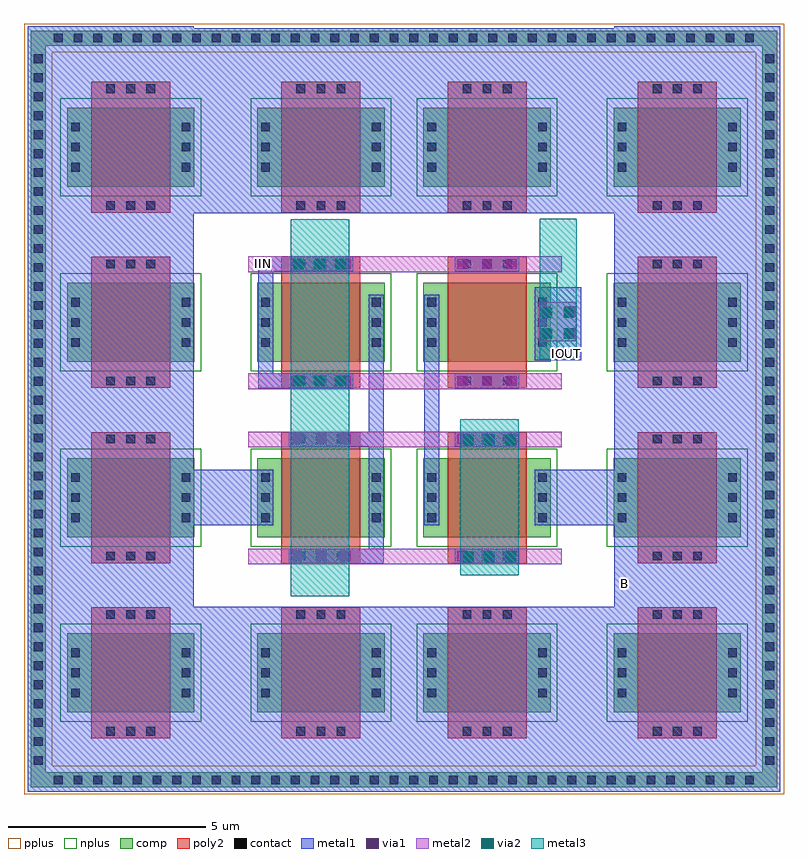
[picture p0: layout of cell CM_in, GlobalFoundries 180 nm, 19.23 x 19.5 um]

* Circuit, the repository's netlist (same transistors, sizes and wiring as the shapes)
** sch_path: /home/gmaranhao/Desktop/Bracolin/Voltage_Reference/symbols_vr/CM_in.sch
.subckt CM_in IIN IOUT B
*.PININFO IIN:B IOUT:B B:B
MN7 IOUT IIN net1 B nfet_03v3 L=2u W=2u nf=1 m=1
MN8 net1 net2 B B nfet_03v3 L=2u W=2u nf=1 m=1
MN11 IIN IIN net2 B nfet_03v3 L=2u W=2u nf=1 m=1
MN12 net2 net2 B B nfet_03v3 L=2u W=2u nf=1 m=1
MN1[1] B B B B nfet_03v3 L=2u W=2u nf=1 m=1
MN1[2] B B B B nfet_03v3 L=2u W=2u nf=1 m=1
MN1[3] B B B B nfet_03v3 L=2u W=2u nf=1 m=1
MN1[4] B B B B nfet_03v3 L=2u W=2u nf=1 m=1
MN1[5] B B B B nfet_03v3 L=2u W=2u nf=1 m=1
MN1[6] B B B B nfet_03v3 L=2u W=2u nf=1 m=1
MN1[7] B B B B nfet_03v3 L=2u W=2u nf=1 m=1
MN1[8] B B B B nfet_03v3 L=2u W=2u nf=1 m=1
MN1[9] B B B B nfet_03v3 L=2u W=2u nf=1 m=1
MN1[10] B B B B nfet_03v3 L=2u W=2u nf=1 m=1
MN1[11] B B B B nfet_03v3 L=2u W=2u nf=1 m=1
MN1[12] B B B B nfet_03v3 L=2u W=2u nf=1 m=1
.ends
.end

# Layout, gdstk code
import gdstk
lib = gdstk.Library(unit=1e-6, precision=1e-09)
def R(c, l, rs):  # rectangles x0, y0, x1, y1
    for r in rs: c.add(gdstk.rectangle(r[:2], r[2:], *l))
def A(c, l, x, y, w, h, nx, ny, dx, dy):  # array of equal rectangles
    R(c, l, [(x+i*dx, y+j*dy, x+i*dx+w, y+j*dy+h) for i in range(nx) for j in range(ny)])
comp = (22, 0)
poly2 = (30, 0)
pplus = (31, 0)
nplus = (32, 0)
contact = (33, 0)
metal1 = (34, 0)
via1 = (35, 0)
metal2 = (36, 0)
via2 = (38, 0)
metal3 = (42, 0)

nfet = lib.new_cell('nfet')
R(nfet, comp, [(-0.42,0,0,2), (0,0,2.38,2), (2.38,0,2.8,2)])
R(nfet, poly2, [(0.19,-0.66,2.19,-0.3), (0.19,-0.3,2.19,2.3), (0.19,2.3,2.19,2.66)])
R(nfet, nplus, [(-0.59,-0.24,2.97,2.24)])
A(nfet, contact, 0.57, -0.59, 0.22, 0.22, 3, 2, 0.51, 2.96)
A(nfet, contact, -0.32, 0.38, 0.22, 0.22, 1, 3, 0, 0.51)
A(nfet, contact, 2.48, 0.38, 0.22, 0.22, 1, 3, 0, 0.51)
R(nfet, metal1, [(0.49,-0.67,1.89,-0.29), (-0.4,0.3,-0.02,1.7), (2.4,0.3,2.78,1.7), (0.49,2.29,1.89,2.67)])

cm_in = lib.new_cell('CM_in')
R(cm_in, comp, [(-48.06,-149.24,-47.68,-130.085), (-47.975,-149.24,-29.325,-148.86), (-29.545,-149.24,-29.165,-130.085), (-48.06,-130.465,-29.325,-130.085)])
R(cm_in, pplus, [(-48.23,-149.41,-47.51,-129.96), (-48.06,-149.41,-28.995,-148.69), (-29.715,-149.37,-28.995,-129.96), (-48.23,-130.635,-28.995,-129.915)])
A(cm_in, contact, -47.475, -149.16, 0.22, 0.22, 36, 2, 0.5, 18.775)
A(cm_in, contact, -47.98, -148.67, 0.22, 0.22, 1, 38, 0, 0.48)
A(cm_in, contact, -29.465, -148.67, 0.22, 0.22, 1, 38, 0, 0.48)
R(cm_in, metal1, [(-48.14,-149.345,-43.94,-129.975), (-46.115,-149.345,-33.175,-144.67), (-33.285,-149.345,-29.085,-129.975), (-41.535,-143.575,-39.895,-143.195), (-41.535,-143.575,-39.125,-143.195), (-37.33,-143.575,-35.69,-143.195), (-37.33,-143.575,-35.69,-143.195), (-39.505,-143.395,-39.125,-138.035), (-44.25,-142.605,-42.125,-141.205), (-35.175,-142.605,-33.05,-141.205), (-38.1,-141.675,-37.72,-137.885), (-41.535,-140.615,-39.895,-140.235), (-41.535,-140.615,-39.125,-140.235), (-37.33,-140.615,-35.69,-140.235), (-37.305,-140.615,-35.69,-140.235), (-42.305,-139.14,-41.925,-135.8), (-42.02,-139.14,-39.895,-138.76), (-41.535,-139.14,-39.895,-138.76), (-37.33,-139.14,-35.69,-138.76), (-37.33,-139.14,-35.69,-138.76), (-35.3,-138.435,-34.125,-136.58), (-42.15,-136.18,-39.895,-135.8), (-41.535,-136.18,-39.895,-135.8), (-37.33,-136.18,-35.69,-135.8), (-37.33,-136.18,-35.69,-135.8), (-46.115,-134.705,-33.175,-130.03)])
R(cm_in, via1, [(-41.465,-143.515,-41.205,-143.255), (-41.465,-143.515,-41.205,-143.255), (-41.465,-143.515,-41.205,-143.255), (-41.465,-143.515,-41.205,-143.255), (-41.465,-143.515,-41.205,-143.255), (-41.465,-143.515,-41.205,-143.255), (-41.465,-143.515,-41.205,-143.255), (-41.465,-143.515,-41.205,-143.255), (-41.465,-143.515,-41.205,-143.255), (-41.465,-143.515,-41.205,-143.255), (-41.465,-143.515,-41.205,-143.255), (-41.465,-143.515,-41.205,-143.255), (-41.465,-143.515,-41.205,-143.255), (-41.465,-143.515,-41.205,-143.255), (-41.465,-143.515,-41.205,-143.255), (-41.465,-143.515,-41.205,-143.255), (-40.845,-143.515,-40.585,-143.255), (-40.845,-143.515,-40.585,-143.255), (-40.845,-143.515,-40.585,-143.255), (-40.845,-143.515,-40.585,-143.255), (-40.845,-143.515,-40.585,-143.255), (-40.845,-143.515,-40.585,-143.255), (-40.845,-143.515,-40.585,-143.255), (-40.845,-143.515,-40.585,-143.255), (-40.845,-143.515,-40.585,-143.255), (-40.845,-143.515,-40.585,-143.255), (-40.845,-143.515,-40.585,-143.255), (-40.845,-143.515,-40.585,-143.255), (-40.845,-143.515,-40.585,-143.255), (-40.845,-143.515,-40.585,-143.255), (-40.845,-143.515,-40.585,-143.255), (-40.845,-143.515,-40.585,-143.255), (-40.225,-143.515,-39.965,-143.255), (-40.225,-143.515,-39.965,-143.255), (-40.225,-143.515,-39.965,-143.255), (-40.225,-143.515,-39.965,-143.255), (-40.225,-143.515,-39.965,-143.255), (-40.225,-143.515,-39.965,-143.255), (-40.225,-143.515,-39.965,-143.255), (-40.225,-143.515,-39.965,-143.255), (-40.225,-143.515,-39.965,-143.255), (-40.225,-143.515,-39.965,-143.255), (-40.225,-143.515,-39.965,-143.255), (-40.225,-143.515,-39.965,-143.255), (-40.225,-143.515,-39.965,-143.255), (-40.225,-143.515,-39.965,-143.255), (-40.225,-143.515,-39.965,-143.255), (-40.225,-143.515,-39.965,-143.255), (-37.26,-143.515,-37,-143.255), (-37.26,-143.515,-37,-143.255), (-37.26,-143.515,-37,-143.255), (-37.26,-143.515,-37,-143.255), (-37.26,-143.515,-37,-143.255), (-37.26,-143.515,-37,-143.255), (-37.26,-143.515,-37,-143.255), (-37.26,-143.515,-37,-143.255), (-37.26,-143.515,-37,-143.255), (-37.26,-143.515,-37,-143.255), (-37.26,-143.515,-37,-143.255), (-37.26,-143.515,-37,-143.255), (-37.26,-143.515,-37,-143.255), (-37.26,-143.515,-37,-143.255), (-37.26,-143.515,-37,-143.255), (-37.26,-143.515,-37,-143.255), (-36.64,-143.515,-36.38,-143.255), (-36.64,-143.515,-36.38,-143.255), (-36.64,-143.515,-36.38,-143.255), (-36.64,-143.515,-36.38,-143.255), (-36.64,-143.515,-36.38,-143.255), (-36.64,-143.515,-36.38,-143.255), (-36.64,-143.515,-36.38,-143.255), (-36.64,-143.515,-36.38,-143.255), (-36.64,-143.515,-36.38,-143.255), (-36.64,-143.515,-36.38,-143.255), (-36.64,-143.515,-36.38,-143.255), (-36.64,-143.515,-36.38,-143.255), (-36.64,-143.515,-36.38,-143.255), (-36.64,-143.515,-36.38,-143.255), (-36.64,-143.515,-36.38,-143.255), (-36.64,-143.515,-36.38,-143.255), (-36.02,-143.515,-35.76,-143.255), (-36.02,-143.515,-35.76,-143.255), (-36.02,-143.515,-35.76,-143.255), (-36.02,-143.515,-35.76,-143.255), (-36.02,-143.515,-35.76,-143.255), (-36.02,-143.515,-35.76,-143.255), (-36.02,-143.515,-35.76,-143.255), (-36.02,-143.515,-35.76,-143.255), (-36.02,-143.515,-35.76,-143.255), (-36.02,-143.515,-35.76,-143.255), (-36.02,-143.515,-35.76,-143.255), (-36.02,-143.515,-35.76,-143.255), (-36.02,-143.515,-35.76,-143.255), (-36.02,-143.515,-35.76,-143.255), (-36.02,-143.515,-35.76,-143.255), (-36.02,-143.515,-35.76,-143.255), (-41.465,-140.555,-41.205,-140.295), (-41.465,-140.555,-41.205,-140.295), (-41.465,-140.555,-41.205,-140.295), (-41.465,-140.555,-41.205,-140.295), (-41.465,-140.555,-41.205,-140.295), (-41.465,-140.555,-41.205,-140.295), (-41.465,-140.555,-41.205,-140.295), (-41.465,-140.555,-41.205,-140.295), (-41.465,-140.555,-41.205,-140.295), (-41.465,-140.555,-41.205,-140.295), (-41.465,-140.555,-41.205,-140.295), (-41.465,-140.555,-41.205,-140.295), (-41.465,-140.555,-41.205,-140.295), (-41.465,-140.555,-41.205,-140.295), (-41.465,-140.555,-41.205,-140.295), (-41.465,-140.555,-41.205,-140.295), (-40.845,-140.555,-40.585,-140.295), (-40.845,-140.555,-40.585,-140.295), (-40.845,-140.555,-40.585,-140.295), (-40.845,-140.555,-40.585,-140.295), (-40.845,-140.555,-40.585,-140.295), (-40.845,-140.555,-40.585,-140.295), (-40.845,-140.555,-40.585,-140.295), (-40.845,-140.555,-40.585,-140.295), (-40.845,-140.555,-40.585,-140.295), (-40.845,-140.555,-40.585,-140.295), (-40.845,-140.555,-40.585,-140.295), (-40.845,-140.555,-40.585,-140.295), (-40.845,-140.555,-40.585,-140.295), (-40.845,-140.555,-40.585,-140.295), (-40.845,-140.555,-40.585,-140.295), (-40.845,-140.555,-40.585,-140.295), (-40.225,-140.555,-39.965,-140.295), (-40.225,-140.555,-39.965,-140.295), (-40.225,-140.555,-39.965,-140.295), (-40.225,-140.555,-39.965,-140.295), (-40.225,-140.555,-39.965,-140.295), (-40.225,-140.555,-39.965,-140.295), (-40.225,-140.555,-39.965,-140.295), (-40.225,-140.555,-39.965,-140.295), (-40.225,-140.555,-39.965,-140.295), (-40.225,-140.555,-39.965,-140.295), (-40.225,-140.555,-39.965,-140.295), (-40.225,-140.555,-39.965,-140.295), (-40.225,-140.555,-39.965,-140.295), (-40.225,-140.555,-39.965,-140.295), (-40.225,-140.555,-39.965,-140.295), (-40.225,-140.555,-39.965,-140.295), (-37.26,-140.555,-37,-140.295), (-37.26,-140.555,-37,-140.295), (-37.26,-140.555,-37,-140.295), (-37.26,-140.555,-37,-140.295), (-37.26,-140.555,-37,-140.295), (-37.26,-140.555,-37,-140.295), (-37.26,-140.555,-37,-140.295), (-37.26,-140.555,-37,-140.295), (-37.26,-140.555,-37,-140.295), (-37.26,-140.555,-37,-140.295), (-37.26,-140.555,-37,-140.295), (-37.26,-140.555,-37,-140.295), (-37.26,-140.555,-37,-140.295), (-37.26,-140.555,-37,-140.295), (-37.26,-140.555,-37,-140.295), (-37.26,-140.555,-37,-140.295), (-36.64,-140.555,-36.38,-140.295), (-36.64,-140.555,-36.38,-140.295), (-36.64,-140.555,-36.38,-140.295), (-36.64,-140.555,-36.38,-140.295), (-36.64,-140.555,-36.38,-140.295), (-36.64,-140.555,-36.38,-140.295), (-36.64,-140.555,-36.38,-140.295), (-36.64,-140.555,-36.38,-140.295), (-36.64,-140.555,-36.38,-140.295), (-36.64,-140.555,-36.38,-140.295), (-36.64,-140.555,-36.38,-140.295), (-36.64,-140.555,-36.38,-140.295), (-36.64,-140.555,-36.38,-140.295), (-36.64,-140.555,-36.38,-140.295), (-36.64,-140.555,-36.38,-140.295), (-36.64,-140.555,-36.38,-140.295), (-36.02,-140.555,-35.76,-140.295), (-36.02,-140.555,-35.76,-140.295), (-36.02,-140.555,-35.76,-140.295), (-36.02,-140.555,-35.76,-140.295), (-36.02,-140.555,-35.76,-140.295), (-36.02,-140.555,-35.76,-140.295), (-36.02,-140.555,-35.76,-140.295), (-36.02,-140.555,-35.76,-140.295), (-36.02,-140.555,-35.76,-140.295), (-36.02,-140.555,-35.76,-140.295), (-36.02,-140.555,-35.76,-140.295), (-36.02,-140.555,-35.76,-140.295), (-36.02,-140.555,-35.76,-140.295), (-36.02,-140.555,-35.76,-140.295), (-36.02,-140.555,-35.76,-140.295), (-36.02,-140.555,-35.76,-140.295), (-41.465,-139.08,-41.205,-138.82), (-41.465,-139.08,-41.205,-138.82), (-41.465,-139.08,-41.205,-138.82), (-41.465,-139.08,-41.205,-138.82), (-41.465,-139.08,-41.205,-138.82), (-41.465,-139.08,-41.205,-138.82), (-41.465,-139.08,-41.205,-138.82), (-41.465,-139.08,-41.205,-138.82), (-41.465,-139.08,-41.205,-138.82), (-41.465,-139.08,-41.205,-138.82), (-41.465,-139.08,-41.205,-138.82), (-41.465,-139.08,-41.205,-138.82), (-41.465,-139.08,-41.205,-138.82), (-41.465,-139.08,-41.205,-138.82), (-41.465,-139.08,-41.205,-138.82), (-41.465,-139.08,-41.205,-138.82), (-40.845,-139.08,-40.585,-138.82), (-40.845,-139.08,-40.585,-138.82), (-40.845,-139.08,-40.585,-138.82), (-40.845,-139.08,-40.585,-138.82), (-40.845,-139.08,-40.585,-138.82), (-40.845,-139.08,-40.585,-138.82), (-40.845,-139.08,-40.585,-138.82), (-40.845,-139.08,-40.585,-138.82), (-40.845,-139.08,-40.585,-138.82), (-40.845,-139.08,-40.585,-138.82), (-40.845,-139.08,-40.585,-138.82), (-40.845,-139.08,-40.585,-138.82), (-40.845,-139.08,-40.585,-138.82), (-40.845,-139.08,-40.585,-138.82), (-40.845,-139.08,-40.585,-138.82), (-40.845,-139.08,-40.585,-138.82), (-40.225,-139.08,-39.965,-138.82), (-40.225,-139.08,-39.965,-138.82), (-40.225,-139.08,-39.965,-138.82), (-40.225,-139.08,-39.965,-138.82), (-40.225,-139.08,-39.965,-138.82), (-40.225,-139.08,-39.965,-138.82), (-40.225,-139.08,-39.965,-138.82), (-40.225,-139.08,-39.965,-138.82), (-40.225,-139.08,-39.965,-138.82), (-40.225,-139.08,-39.965,-138.82), (-40.225,-139.08,-39.965,-138.82), (-40.225,-139.08,-39.965,-138.82), (-40.225,-139.08,-39.965,-138.82), (-40.225,-139.08,-39.965,-138.82), (-40.225,-139.08,-39.965,-138.82), (-40.225,-139.08,-39.965,-138.82), (-37.26,-139.08,-37,-138.82), (-37.26,-139.08,-37,-138.82), (-37.26,-139.08,-37,-138.82), (-37.26,-139.08,-37,-138.82), (-37.26,-139.08,-37,-138.82), (-37.26,-139.08,-37,-138.82), (-37.26,-139.08,-37,-138.82), (-37.26,-139.08,-37,-138.82), (-37.26,-139.08,-37,-138.82), (-37.26,-139.08,-37,-138.82), (-37.26,-139.08,-37,-138.82), (-37.26,-139.08,-37,-138.82), (-37.26,-139.08,-37,-138.82), (-37.26,-139.08,-37,-138.82), (-37.26,-139.08,-37,-138.82), (-37.26,-139.08,-37,-138.82), (-36.64,-139.08,-36.38,-138.82), (-36.64,-139.08,-36.38,-138.82), (-36.64,-139.08,-36.38,-138.82), (-36.64,-139.08,-36.38,-138.82), (-36.64,-139.08,-36.38,-138.82), (-36.64,-139.08,-36.38,-138.82), (-36.64,-139.08,-36.38,-138.82), (-36.64,-139.08,-36.38,-138.82), (-36.64,-139.08,-36.38,-138.82), (-36.64,-139.08,-36.38,-138.82), (-36.64,-139.08,-36.38,-138.82), (-36.64,-139.08,-36.38,-138.82), (-36.64,-139.08,-36.38,-138.82), (-36.64,-139.08,-36.38,-138.82), (-36.64,-139.08,-36.38,-138.82), (-36.64,-139.08,-36.38,-138.82), (-36.02,-139.08,-35.76,-138.82), (-36.02,-139.08,-35.76,-138.82), (-36.02,-139.08,-35.76,-138.82), (-36.02,-139.08,-35.76,-138.82), (-36.02,-139.08,-35.76,-138.82), (-36.02,-139.08,-35.76,-138.82), (-36.02,-139.08,-35.76,-138.82), (-36.02,-139.08,-35.76,-138.82), (-36.02,-139.08,-35.76,-138.82), (-36.02,-139.08,-35.76,-138.82), (-36.02,-139.08,-35.76,-138.82), (-36.02,-139.08,-35.76,-138.82), (-36.02,-139.08,-35.76,-138.82), (-36.02,-139.08,-35.76,-138.82), (-36.02,-139.08,-35.76,-138.82), (-36.02,-139.08,-35.76,-138.82), (-35.17,-137.875,-34.91,-137.615), (-35.17,-137.875,-34.91,-137.615), (-35.17,-137.875,-34.91,-137.615), (-35.17,-137.875,-34.91,-137.615), (-35.17,-137.875,-34.91,-137.615), (-35.17,-137.875,-34.91,-137.615), (-35.17,-137.875,-34.91,-137.615), (-35.17,-137.875,-34.91,-137.615), (-34.54,-137.875,-34.28,-137.615), (-34.54,-137.875,-34.28,-137.615), (-34.54,-137.875,-34.28,-137.615), (-34.54,-137.875,-34.28,-137.615), (-34.54,-137.875,-34.28,-137.615), (-34.54,-137.875,-34.28,-137.615), (-34.54,-137.875,-34.28,-137.615), (-34.54,-137.875,-34.28,-137.615), (-35.17,-137.325,-34.91,-137.065), (-35.17,-137.325,-34.91,-137.065), (-35.17,-137.325,-34.91,-137.065), (-35.17,-137.325,-34.91,-137.065), (-35.17,-137.325,-34.91,-137.065), (-35.17,-137.325,-34.91,-137.065), (-35.17,-137.325,-34.91,-137.065), (-35.17,-137.325,-34.91,-137.065), (-34.54,-137.325,-34.28,-137.065), (-34.54,-137.325,-34.28,-137.065), (-34.54,-137.325,-34.28,-137.065), (-34.54,-137.325,-34.28,-137.065), (-34.54,-137.325,-34.28,-137.065), (-34.54,-137.325,-34.28,-137.065), (-34.54,-137.325,-34.28,-137.065), (-34.54,-137.325,-34.28,-137.065), (-41.465,-136.12,-41.205,-135.86), (-41.465,-136.12,-41.205,-135.86), (-41.465,-136.12,-41.205,-135.86), (-41.465,-136.12,-41.205,-135.86), (-41.465,-136.12,-41.205,-135.86), (-41.465,-136.12,-41.205,-135.86), (-41.465,-136.12,-41.205,-135.86), (-41.465,-136.12,-41.205,-135.86), (-41.465,-136.12,-41.205,-135.86), (-41.465,-136.12,-41.205,-135.86), (-41.465,-136.12,-41.205,-135.86), (-41.465,-136.12,-41.205,-135.86), (-41.465,-136.12,-41.205,-135.86), (-41.465,-136.12,-41.205,-135.86), (-41.465,-136.12,-41.205,-135.86), (-41.465,-136.12,-41.205,-135.86), (-40.845,-136.12,-40.585,-135.86), (-40.845,-136.12,-40.585,-135.86), (-40.845,-136.12,-40.585,-135.86), (-40.845,-136.12,-40.585,-135.86), (-40.845,-136.12,-40.585,-135.86), (-40.845,-136.12,-40.585,-135.86), (-40.845,-136.12,-40.585,-135.86), (-40.845,-136.12,-40.585,-135.86), (-40.845,-136.12,-40.585,-135.86), (-40.845,-136.12,-40.585,-135.86), (-40.845,-136.12,-40.585,-135.86), (-40.845,-136.12,-40.585,-135.86), (-40.845,-136.12,-40.585,-135.86), (-40.845,-136.12,-40.585,-135.86), (-40.845,-136.12,-40.585,-135.86), (-40.845,-136.12,-40.585,-135.86), (-40.225,-136.12,-39.965,-135.86), (-40.225,-136.12,-39.965,-135.86), (-40.225,-136.12,-39.965,-135.86), (-40.225,-136.12,-39.965,-135.86), (-40.225,-136.12,-39.965,-135.86), (-40.225,-136.12,-39.965,-135.86), (-40.225,-136.12,-39.965,-135.86), (-40.225,-136.12,-39.965,-135.86), (-40.225,-136.12,-39.965,-135.86), (-40.225,-136.12,-39.965,-135.86), (-40.225,-136.12,-39.965,-135.86), (-40.225,-136.12,-39.965,-135.86), (-40.225,-136.12,-39.965,-135.86), (-40.225,-136.12,-39.965,-135.86), (-40.225,-136.12,-39.965,-135.86), (-40.225,-136.12,-39.965,-135.86), (-37.26,-136.12,-37,-135.86), (-37.26,-136.12,-37,-135.86), (-37.26,-136.12,-37,-135.86), (-37.26,-136.12,-37,-135.86), (-37.26,-136.12,-37,-135.86), (-37.26,-136.12,-37,-135.86), (-37.26,-136.12,-37,-135.86), (-37.26,-136.12,-37,-135.86), (-37.26,-136.12,-37,-135.86), (-37.26,-136.12,-37,-135.86), (-37.26,-136.12,-37,-135.86), (-37.26,-136.12,-37,-135.86), (-37.26,-136.12,-37,-135.86), (-37.26,-136.12,-37,-135.86), (-37.26,-136.12,-37,-135.86), (-37.26,-136.12,-37,-135.86), (-36.64,-136.12,-36.38,-135.86), (-36.64,-136.12,-36.38,-135.86), (-36.64,-136.12,-36.38,-135.86), (-36.64,-136.12,-36.38,-135.86), (-36.64,-136.12,-36.38,-135.86), (-36.64,-136.12,-36.38,-135.86), (-36.64,-136.12,-36.38,-135.86), (-36.64,-136.12,-36.38,-135.86), (-36.64,-136.12,-36.38,-135.86), (-36.64,-136.12,-36.38,-135.86), (-36.64,-136.12,-36.38,-135.86), (-36.64,-136.12,-36.38,-135.86), (-36.64,-136.12,-36.38,-135.86), (-36.64,-136.12,-36.38,-135.86), (-36.64,-136.12,-36.38,-135.86), (-36.64,-136.12,-36.38,-135.86), (-36.02,-136.12,-35.76,-135.86), (-36.02,-136.12,-35.76,-135.86), (-36.02,-136.12,-35.76,-135.86), (-36.02,-136.12,-35.76,-135.86), (-36.02,-136.12,-35.76,-135.86), (-36.02,-136.12,-35.76,-135.86), (-36.02,-136.12,-35.76,-135.86), (-36.02,-136.12,-35.76,-135.86), (-36.02,-136.12,-35.76,-135.86), (-36.02,-136.12,-35.76,-135.86), (-36.02,-136.12,-35.76,-135.86), (-36.02,-136.12,-35.76,-135.86), (-36.02,-136.12,-35.76,-135.86), (-36.02,-136.12,-35.76,-135.86), (-36.02,-136.12,-35.76,-135.86), (-36.02,-136.12,-35.76,-135.86)])
R(cm_in, metal2, [(-42.56,-143.595,-34.62,-143.195), (-42.56,-140.635,-34.62,-140.235), (-42.56,-139.16,-34.62,-138.76), (-35.2,-137.95,-34.255,-136.965), (-42.56,-136.2,-34.62,-135.8)])
A(cm_in, via2, -37.115, -143.535, 0.26, 0.26, 3, 2, 0.53, 2.96)
A(cm_in, via2, -41.41, -139.08, 0.26, 0.26, 3, 1, 0.53, 0)
R(cm_in, via2, [(-35.115,-137.885,-34.855,-137.625), (-34.575,-137.885,-34.315,-137.625), (-35.115,-137.355,-34.855,-137.095), (-34.575,-137.355,-34.315,-137.095), (-41.41,-136.12,-41.15,-135.86), (-41.41,-136.12,-41.15,-135.86), (-40.88,-136.12,-40.62,-135.86), (-40.88,-136.12,-40.62,-135.86), (-40.35,-136.12,-40.09,-135.86), (-40.35,-136.12,-40.09,-135.86)])
R(cm_in, metal3, [(-41.48,-144.405,-40,-134.86), (-37.185,-143.875,-35.705,-139.92), (-35.18,-138.4,-34.235,-134.85)])
cm_in.add(gdstk.Reference(nfet, (-41.905,-138.47)))
cm_in.add(gdstk.Reference(nfet, (-41.905,-142.905)))
cm_in.add(gdstk.Reference(nfet, (-37.7,-138.47)))
cm_in.add(gdstk.Reference(nfet, (-37.7,-142.905)))
cm_in.add(gdstk.Reference(nfet, (-46.72,-138.47)))
cm_in.add(gdstk.Reference(nfet, (-46.72,-142.905)))
cm_in.add(gdstk.Reference(nfet, (-32.885,-138.47)))
cm_in.add(gdstk.Reference(nfet, (-32.885,-142.905)))
cm_in.add(gdstk.Reference(nfet, (-41.905,-134.035)))
cm_in.add(gdstk.Reference(nfet, (-37.7,-134.035)))
cm_in.add(gdstk.Reference(nfet, (-46.72,-134.035)))
cm_in.add(gdstk.Reference(nfet, (-32.885,-134.035)))
cm_in.add(gdstk.Reference(nfet, (-41.905,-147.34)))
cm_in.add(gdstk.Reference(nfet, (-37.7,-147.34)))
cm_in.add(gdstk.Reference(nfet, (-46.72,-147.34)))
cm_in.add(gdstk.Reference(nfet, (-32.885,-147.34)))
cm_in.add(gdstk.Label('B', (-33.03,-144.07), layer=34, texttype=10))
cm_in.add(gdstk.Label('IIN', (-42.18,-135.99), layer=34, texttype=10))
cm_in.add(gdstk.Label('IOUT', (-34.51,-138.26), layer=34, texttype=10))

lib.write_gds('CM_in.gds')
